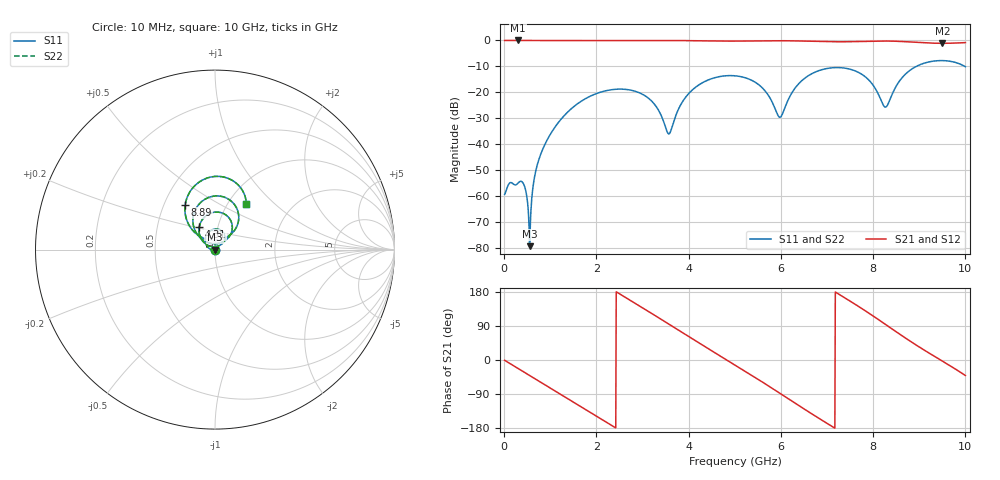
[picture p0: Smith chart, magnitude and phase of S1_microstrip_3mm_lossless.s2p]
! kicad_em_sim: S-parameters of 2 ports, openEMS
# Hz S RI R 50
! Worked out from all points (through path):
!   1000 points, 10 MHz to 10 GHz, reference 50 ohm
!   highest |S21| = 0.00 dB at 300 MHz (marker M1); lowest = -1.1 dB at 9.5 GHz (marker M2)
!   group delay of S21, straight-line fit = 212 ps
!   lowest |S11| = -79.5 dB at 550 MHz (marker M3), VSWR 1.00, Z = 50 + j0.0106 ohm
!   |S11| at or under -10 dB: start of sweep to 8.938 GHz; 9.98457 GHz to end of sweep
!   |S22| runs from -79.5 to -7.8 dB; largest |S21 - S12| = 2.8e-07
!   S11 on the Smith chart (normalised r, x): 10 MHz: 1.00, +0.00; 4.31 GHz: 0.81, +0.21; 8.89 GHz: 0.64, +0.35; 10 GHz: 1.21, +0.69
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1e7  0.00106 0.000118  0.9995 -0.0129  0.9995 -0.0129  0.00106 0.000118
3e8  0.00115 0.00133  0.9257 -0.3773  0.9257 -0.3773  0.00115 0.00133
4.3e8  0.00117 0.00114  0.8495 -0.5266  0.8495 -0.5266  0.00117 0.00114
5.5e8  8.53e-06 0.000106  0.7582 -0.6512  0.7582 -0.6512  8.6e-06 0.000106
6.8e8  -0.00268 -0.00102  0.6388 -0.7688  0.6388 -0.7688  -0.00268 -0.00102
8.6e8  -0.00865 -0.00174  0.4442 -0.8954  0.4442 -0.8954  -0.00865 -0.00174
1.68e9  -0.0532 0.042  -0.5635 -0.8219  -0.5635 -0.8219  -0.0532 0.042
2.5e9  0.0087 0.1145  -0.9875 0.0897  -0.9875 0.0897  0.0087 0.1145
3.34e9  0.0354 0.0294  -0.3759 0.9214  -0.3759 0.9214  0.0354 0.0294
3.58e9  -0.00277 0.0155  -0.0699 0.9934  -0.0699 0.9934  -0.00277 0.0155
3.89e9  -0.0595 0.0377  0.3326 0.9359  0.3326 0.9359  -0.0595 0.0377
4.31e9  -0.0876 0.1271  0.7686 0.6132  0.7686 0.6132  -0.0876 0.1271
5.01e9  0.0415 0.2032  0.9439 -0.2288  0.9439 -0.2288  0.0415 0.2032
5.57e9  0.09 0.091  0.5504 -0.8135  0.5504 -0.8135  0.09 0.091
5.98e9  -0.000976 0.0328  0.0344 -0.9876  0.0344 -0.9876  -0.000976 0.0328
6.31e9  -0.0931 0.0774  -0.401 -0.8949  -0.401 -0.8949  -0.0931 0.0774
6.67e9  -0.1194 0.194  -0.7597 -0.5896  -0.7597 -0.5896  -0.1194 0.194
7.49e9  0.0997 0.2614  -0.8656 0.382  -0.8656 0.382  0.0997 0.2614
8.34e9  -0.0336 0.0543  0.0368 0.9725  0.0368 0.9725  -0.0336 0.0543
8.89e9  -0.1659 0.2495  0.6781 0.6279  0.6781 0.6279  -0.1659 0.2495
9.5e9  0.0312 0.407  0.8797 -0.0434  0.8797 -0.0434  0.0312 0.407
1e10  0.1744 0.2568  0.6868 -0.5953  0.6868 -0.5953  0.1744 0.2568
